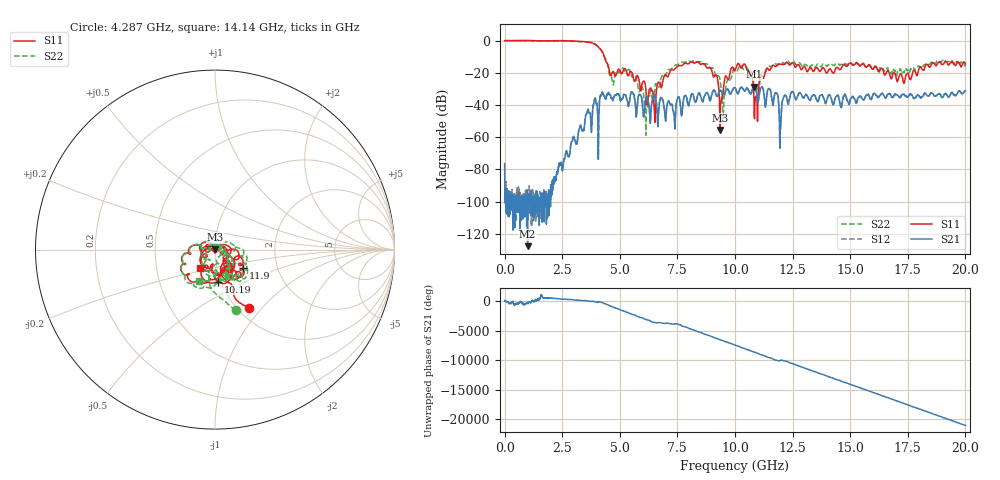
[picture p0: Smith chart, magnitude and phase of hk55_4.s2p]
#  HZ  S  RI  R  50.00
! Rohde & Schwarz Vector Network Analyzer
! Rohde-Schwarz,ZNB20-2Port,1311601062102128,3.60
! Created: UTC 4/29/2024, 3:44:36 PM
! freq[Hz]  re:S11  im:S11  re:S21  im:S21  re:S12  im:S12  re:S22  im:S22
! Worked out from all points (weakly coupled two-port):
!   2007 points, 100 kHz to 20 GHz, reference 50 ohm
!   highest |S21| = -28.55 dB at 10.83 GHz (marker M1); lowest = -127.6 dB at 997.1 MHz (marker M2)
!   lowest |S11| = -55.5 dB at 9.342 GHz (marker M3), VSWR 1.00, Z = 50.1 + j0.136 ohm
!   |S11| at or under -10 dB: 4.327 GHz to end of sweep
!   |S22| runs from -58.7 to 0.1 dB; largest |S21 - S12| = 0.002
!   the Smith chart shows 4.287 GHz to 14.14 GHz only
!   S11 on the Smith chart (normalised r, x): 4.287 GHz: 1.13, -0.86; 10.19 GHz: 0.97, -0.36; 11.9 GHz: 1.34, -0.28; 14.14 GHz: 0.83, -0.17
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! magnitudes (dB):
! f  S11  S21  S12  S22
! 100 kHz  0.0  -76.3  -98.6  0.1
! 997.1 MHz  0.1  -127.6  -109.6  0.0
! 2.263 GHz  0.0  -81.8  -83.3  -0.3
! 3.34 GHz  -0.6  -55.5  -55.1  -0.6
! 4.287 GHz  -8.5  -33.3  -33.5  -8.9
! 4.656 GHz  -20.2  -35.6  -35.6  -23.6
! 5.653 GHz  -25.1  -36.9  -36.9  -21.6
! 6.132 GHz  -30.5  -35.3  -35.4  -58.7
! 6.67 GHz  -25.8  -46.9  -46.8  -28.0
! 8.375 GHz  -13.1  -34.3  -34.2  -13.5
! 9.173 GHz  -21.3  -33.3  -33.3  -22.5
! 9.342 GHz  -55.5  -30.8  -30.8  -23.7
! 9.502 GHz  -29.1  -33.0  -33.1  -42.7
! 10 GHz  -18.6  -29.3  -29.3  -17.5
! 10.19 GHz  -14.9  -30.7  -30.7  -16.2
! 10.83 GHz  -38.1  -28.5  -28.5  -28.4
! 11.79 GHz  -15.8  -32.4  -32.4  -14.7
! 11.9 GHz  -14.6  -40.8  -41.0  -14.4
! 13.34 GHz  -17.9  -34.6  -34.7  -15.0
! 14.14 GHz  -17.7  -34.3  -34.2  -14.3
! 16.67 GHz  -19.1  -33.0  -33.0  -18.9
! 20 GHz  -14.5  -31.1  -31.2  -15.2
